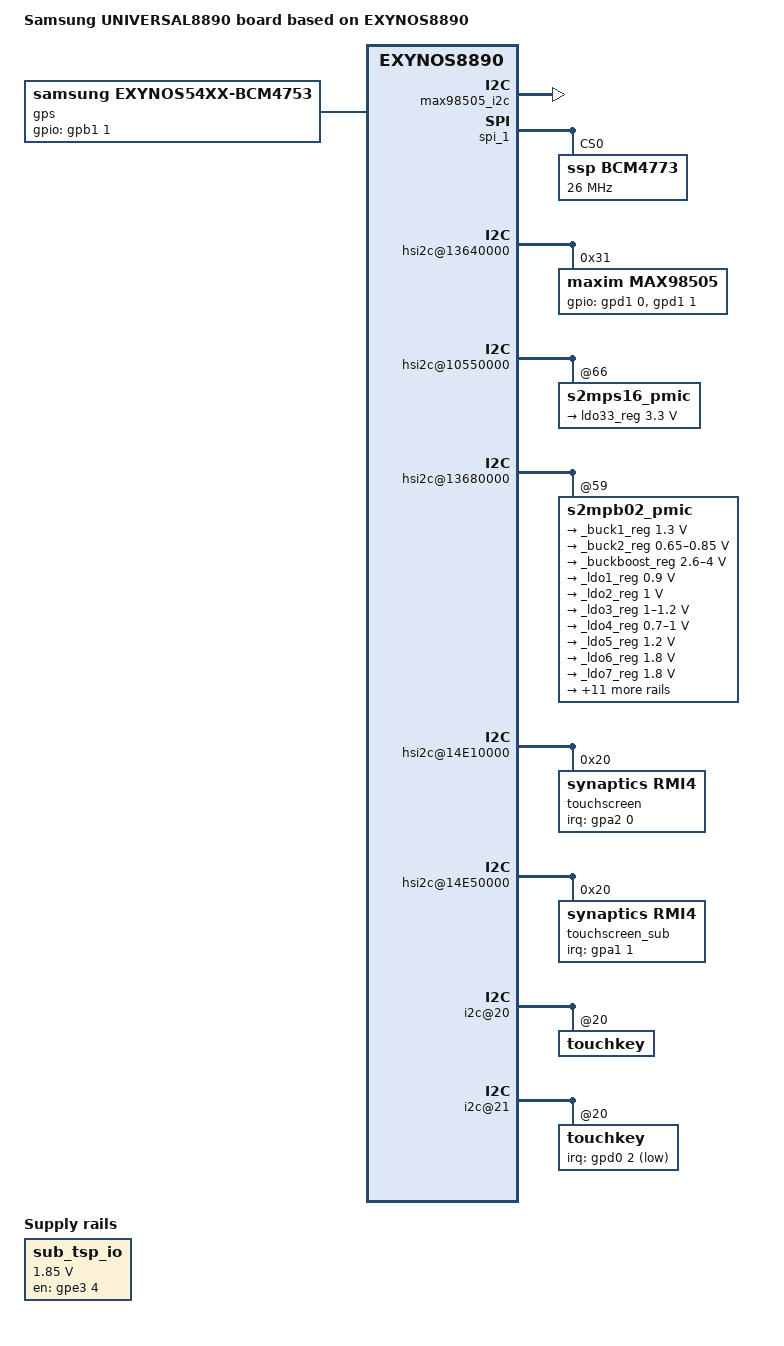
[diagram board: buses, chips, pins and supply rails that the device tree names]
/*
 * SAMSUNG UNIVERSAL8890 board device tree source
 *
 * Copyright (c) 2015 Samsung Electronics Co., Ltd.
 *		http://www.samsung.com
 *
 * This program is free software; you can redistribute it and/or modify
 * it under the terms of the GNU General Public License version 2 as
 * published by the Free Software Foundation.
*/
/dts-v1/;
#include "exynos8890-vlte_common.dtsi"
#include "exynos8890-vlte_gpio_01.dtsi"
#include "exynos8890-sound-cs47l91.dtsi"
#include "exynos8890-vlte_battery_eur_01.dtsi"
#include "exynos8890-vlte_display_01.dtsi"
#include "exynos8890-vlte_mst_01.dtsi"
#include "exynos8890-vlte_fingerprint-sensor_00.dtsi"
/ {

	model = "Samsung UNIVERSAL8890 board based on EXYNOS8890";
	model_info-chip = <8890>;
	model_info-platform = "android";
	model_info-subtype = "samsung";
	model_info-hw_rev = <1>;
	model_info-hw_rev_end = <1>;
	compatible = "samsung,exynos8890","samsung,UNIVERSAL8890";

	audio_pdata {
		compatible = "samsung,audio-pdata";
		seamless_voicewakeup;
		status = "okay";
	};

	pinctrl@10580000 {
		codec_irq: codec-irq {
			samsung,pins = "gpa2-6";
			samsung,pin-function = <0xf>;
			samsung,pin-pud = <0>;
		};
		max98505_ctrl: max98505-ctl {
			samsung,pins ="gpa2-2";
			samsung,pin-function = <0>;
			samsung,pin-pud = <0>;
			samsung,pin-con-pdn =<2>;
			samsung,pin-pud-pdn = <0>;
		};
		attn_irq: attn-irq {
			samsung,pins = "gpa2-0";
			samsung,pin-function = <0xf>;
			samsung,pin-pud = <0>;
			samsung,pin-drv = <0>;
		};
		attn_input: attn-input {
			samsung,pins = "gpa2-0";
			samsung,pin-function = <0>;
			samsung,pin-pud = <1>;
			samsung,pin-drv = <0>;
		};
	};

	hall {
		status = "disabled";
	};

	certify_hall { 
		status = "disabled";
	};

	pinctrl@136D0000 {
		max98505_i2c: max98505-i2c {
			samsung,pins = "gpd1-0", "gpd1-1";
			samsung,pin-pud = <0>;
			status = "okay";
		};
		/* touchkey i2c*/
		cfg_i2c: cfg-i2c {
			samsung,pins = "gpd0-0", "gpd0-1";
			samsung,pin-function = <2>;
			samsung,pin-pud = <3>;
			samsung,pin-drv = <0>;
		};
		cfg_gpio: cfg_gpio {
			samsung,pins = "gpd0-0", "gpd0-1";
			samsung,pin-function = <0>;
			samsung,pin-pud = <0>;
			samsung,pin-drv = <0>;
		};
		/* sub touchkey interrupt*/
		cfg_irq_sub: cfg-irq-sub {
			samsung,pins = "gpd0-2";
			samsung,pin-function = <0xf>;
			samsung,pin-pud = <3>;
			samsung,pin-drv = <0>;
		};
		cfg_input_sub: cfg-input-sub {
			samsung,pins = "gpd0-2";
			samsung,pin-function = <0>;
			samsung,pin-pud = <1>;
			samsung,pin-drv = <0>;
		};
	};

	pinctrl@14CC0000 {
		codec_reset: codec-reset {
			samsung,pins ="gpe6-5";
			samsung,pin-function = <1>;
			samsung,pin-pud = <1>;
			samsung,pin-con-pdn =<3>;
			samsung,pin-pud-pdn = <1>;
			samsung,pin-val = <0>;
		};
		/* sub touchkey i2c*/
		cfg_i2c_sub: cfg-i2c-sub {
			samsung,pins = "gpe1-2", "gpe1-3";
			samsung,pin-function = <2>;
			samsung,pin-pud = <3>;
			samsung,pin-drv = <0>;
		};
		cfg_gpio_sub: cfg_gpio_sub {
			samsung,pins = "gpe1-2", "gpe1-3";
			samsung,pin-function = <0>;
			samsung,pin-pud = <0>;
			samsung,pin-drv = <0>;
		};
	};

	spi_1: spi@14d30000 {
		#address-cells = <1>;
		#size-cells = <0>;

		pinctrl-names = "default";
		pinctrl-0 = <&spi1_mosi_sck_ssn &spi1_miso>;

		num-cs = <1>;
		status = "okay";

		BCM4773@0 {
			compatible = "ssp,BCM4773";
			reg = <0>;
			spi-max-frequency = <26000000>;
			spi-cpol;
			spi-cpha;
			pinctrl-names = "default";
			pinctrl-0 = <&ssp_host_req &ssp_mcu_req &ssp_mcu_resp &ssp_batch_wake_irq>;

			gpio-controller;
			#gpio-cells = <2>;
			ssp-host-req = <&gpa3 4 0x00>;
			ssp-mcu-req = <&gpe6 4 0x00>;
			ssp-mcu-resp = <&gpg0 2 0x00>;
			ssp-batch-wake-irq = <&gpa3 1 0x00>;
			ssp-acc-position = <0>;
			ssp-acc-sub-position = <5>;
			ssp-mag-position = <0>;
			ssp-sns-combination = <0>;
			ssp,prox-hi_thresh = <600>;
			ssp,prox-low_thresh = <400>;
			ssp,prox-cal_hi_thresh = <8192>;
			SSP,prox-cal_low_thresh = <5000>;
			ssp-ap-rev = <1>;
			ssp-mag-array = <9930 866 (-228) 263 9197 121 (-135) 387 10378>;
			ssp-glass-type = <1>;
			ssp-hall-threshold = /bits/ 16 <1 (-50) (-60) (-90) (-95)>;

			controller-data {
				cs-gpio = <&gpe2 5 0>;
				samsung,spi-feedback-delay = <0>;
				};
			};
	};

	gps {
		compatible = "samsung,exynos54xx-bcm4753";

		pinctrl-names = "default";
		pinctrl-0 = <&ssp_gps_pwr_en>;

		gpios = <&gpb1 1 0x0>;
		status = "okay";
	};

	hsi2c@13640000 {
		status = "okay";
		max98505@31 {
			compatible = "maxim,max98505";
			reg = <0x31>;
			pinctrl-names = "default";
			pinctrl-0 = <&max98505_i2c &max98505_ctrl>;
			gpios = <&gpd1 0 0
				&gpd1 1 0
				>;
			i2c-gpio,delay-us = <2>;
			maxim,platform_type = <0>;
			maxim,spk_vol = <0x14>;
			maxim,sysclk = <12288000>;
			maxim,vmon_slot = <0>;
			maxim,platform_info = <0 0x4000 0x0F010203 0x0FF10203 0x00000000 40>;
			maxim,boost_step = <
					0x0F 0x0F 0x0F 0x0F
					0x0F 0x0F 0x0F 0x0F
					0x0F 0x0F 0x0F 0x0F
					0x0F 0x0F 0x02 0x00
					>;
			maxim,adc_threshold = <7>;
		};
	};

	sound {
		mixer-paths = "mixer_paths_r01.xml";
	};

	/* Main PMIC */
	hsi2c@10550000{
		s2mps16_pmic@66 {
			regulators {
				ldo33_reg: LDO33 {
					regulator-name = "VDD_SUB_TOUCH_3.3V";
					regulator-min-microvolt = <3300000>;
					regulator-max-microvolt = <3300000>;
					regulator-boot-on;
				};
			};
		};
	};
	/* Sub PMIC */
	hsi2c@13680000 {
		s2mpb02_pmic@59 {
			regulators {
				_buck1_reg: s2mpb02-buck1 {
					regulator-name = "VDD_1P3_EXT";
					regulator-min-microvolt = <1300000>;
					regulator-max-microvolt = <1300000>;
					regulator-always-on;
					regulator-boot-on;
				};

				_buck2_reg: s2mpb02-buck2 {
					regulator-name = "VDDD_CORE_0.8V_COMP";
					regulator-min-microvolt = <650000>;
					regulator-max-microvolt = <850000>;
				};

				_buckboost_reg: s2mpb02-bb {
					regulator-min-microvolt = <2600000>;
					regulator-max-microvolt = <4000000>;
					regulator-always-on;
					regulator-boot-on;
				};

				_ldo1_reg: s2mpb02-ldo1 {
					regulator-name = "VDDD_NORET_0.9V_COMP";
					regulator-min-microvolt = <900000>;
					regulator-max-microvolt = <900000>;
				};

				_ldo2_reg: s2mpb02-ldo2 {
					regulator-name = "VDDD_CORE_1.0V_COMP";
					regulator-min-microvolt = <1000000>;
					regulator-max-microvolt = <1000000>;
				};

				_ldo3_reg: s2mpb02-ldo3 {
					regulator-name = "VDDD_1.2V_CAM";
					regulator-min-microvolt = <1000000>;
					regulator-max-microvolt = <1200000>;
				};

				_ldo4_reg: s2mpb02-ldo4 {
					regulator-name = "VDDD_RET_1.0V_COMP";
					regulator-min-microvolt = <700000>;
					regulator-max-microvolt = <1000000>;
				};

				_ldo5_reg: s2mpb02-ldo5 {
					regulator-name = "VDDD_1.2V_VT";
					regulator-min-microvolt = <1200000>;
					regulator-max-microvolt = <1200000>;
				};

				_ldo6_reg: s2mpb02-ldo6 {
					regulator-name = "VDDIO_1.8V_VT";
					regulator-min-microvolt = <1800000>;
					regulator-max-microvolt = <1800000>;
				};

				_ldo7_reg: s2mpb02-ldo7 {
					regulator-name = "VDDIO_1.8V_CAM";
					regulator-min-microvolt = <1800000>;
					regulator-max-microvolt = <1800000>;
				};

				_ldo8_reg: s2mpb02-ldo8 {
					regulator-name = "VDDIO_1.8V_COMP";
					regulator-min-microvolt = <1800000>;
					regulator-max-microvolt = <1800000>;
				};

				_ldo9_reg: s2mpb02-ldo9 {
					regulator-name = "VDDA_1.8V_COMP";
					regulator-min-microvolt = <1800000>;
					regulator-max-microvolt = <1800000>;
				};

				_ldo10_reg: s2mpb02-ldo10 {
					regulator-name = "VDD_SUB_LCD_1P8";
					regulator-min-microvolt = <1800000>;
					regulator-max-microvolt = <1800000>;
				};

				_ldo11_reg: s2mpb02-ldo11 {
					regulator-name = "VDDA_2.9V_CAM";
					regulator-min-microvolt = <1000000>;
					regulator-max-microvolt = <2950000>;
				};

				_ldo12_reg: s2mpb02-ldo12 {
					regulator-name = "VDDAF_2.8V_CAM";
					regulator-min-microvolt = <2800000>;
					regulator-max-microvolt = <2800000>;
				};

				_ldo13_reg: s2mpb02-ldo13 {
					regulator-name = "VDDA_2.9V_VT";
					regulator-min-microvolt = <2900000>;
					regulator-max-microvolt = <2900000>;
				};

				_ldo14_reg: s2mpb02-ldo14 {
					regulator-name = "OIS_VM_2.8V";
					regulator-min-microvolt = <2800000>;
					regulator-max-microvolt = <2800000>;
				};

				_ldo15_reg: s2mpb02-ldo15 {
					regulator-name = "OIS_VDD_2.8V";
					regulator-min-microvolt = <2800000>;
					regulator-max-microvolt = <2800000>;
				};

				_ldo16_reg: s2mpb02-ldo16 {
					regulator-name = "VDD_SUB_LCD_3P0";
					regulator-min-microvolt = <3000000>;
					regulator-max-microvolt = <3000000>;
				};

				_ldo17_reg: s2mpb02-ldo17 {
					regulator-name = "sub_tsp_avdd";
					regulator-min-microvolt = <3300000>;
					regulator-max-microvolt = <3300000>;
				};

				_ldo18_reg: s2mpb02-ldo18 {
					regulator-name = "VDD_HALL_3P3";
					regulator-min-microvolt = <3300000>;
					regulator-max-microvolt = <3300000>;
					regulator-always-on;
				};
			};

			torch {
				torch1-gpio = "gpc0-3";
				flash1-gpio = "gpc0-2";

				status = "okay";

				leds1 {
					ledname = "leds-sec1";
					/* S2MPB02_FLASH_LED_1 */
					id = <0>;
					/* S2MPB02_FLASH_CURRENT */
					brightness = <0xF>;
					/* S2MPB02_FLASH_TIMEOUT */
					timeout = <0x3>;
				};

				leds2 {
					ledname = "torch-sec1";
					/* S2MPB02_TORCH_LED_1 */
					id = <1>;
					/* S2MPB02_TORCH_CURRENT */
					brightness = <0x9>;
					/* S2MPB02_TORCH_TIMEOUT */
					timeout = <0xF>;
				};
			};
		};
	};

	dwmmc2@15740000 {
		status = "disabled";
	};

	sub_tsp_ldo_en {
		compatible = "regulator-fixed";
		regulator-name = "sub_tsp_io";
		regulator-min-microvolt = <1850000>;
		regulator-max-microvolt = <1850000>;
		gpio = <&gpe3 4 0>;
		enable-active-high;
	};

	/* HSIC7 */
	hsi2c@14E10000 {
		samsung,i2c-sda-delay = <100>;
		samsung,i2c-max-bus-freq = <400000>;
		status = "okay";
		touchscreen@49 {
			compatible = "stm,fts_touch";
			status = "disabled";
		};
		touchscreen@20 {
			compatible = "synaptics,rmi4";
			reg = <0x20>;
			pinctrl-names = "on_state", "off_state";
			pinctrl-0 = <&attn_irq>;
			pinctrl-1 = <&attn_input>;
			synaptics,irq_gpio = <&gpa2 0 0>;
			synaptics,irq_type = <8200>;
			synaptics,max_coords = <1100 1900>;	/* x y */
			synaptics,num_lines = <28 16>;		/* rx tx */
			synaptics,regulator_dvdd = "tsp_io";
			synaptics,regulator_avdd = "tsp_avdd";
			synaptics,firmware_name = "tsp_synaptics/synaptics_s5300_v_ab.fw"; /* main */
		};
	};

	/* HSIC14 */
	hsi2c@14E50000 {
		samsung,i2c-sda-delay = <100>;
		samsung,i2c-max-bus-freq = <400000>;
		status = "okay";
		touchscreen_sub@49 {
			compatible = "stm,fts_touch";
			status = "disabled";
		};
		touchscreen_sub@20 {
			compatible = "synaptics,rmi4";
			reg = <0x20>;
			pinctrl-names = "on_state", "off_state";
			pinctrl-0 = <&attn_irq_sub>;
			pinctrl-1 = <&attn_input_sub>;
			synaptics,irq_gpio = <&gpa1 1 0>;
			synaptics,irq_type = <8200>;
			synaptics,max_coords = <1100 1900>;
			synaptics,num_lines = <28 16>;
			synaptics,regulator_dvdd = "sub_tsp_io";
			synaptics,regulator_avdd = "sub_tsp_avdd";
			synaptics,device_num = <2>;
			synaptics,firmware_name = "tsp_synaptics/synaptics_s5300_v_ac.fw"; 
		};
	};

	i2c@20{
		touchkey@20 {
			abov,fw_path = "abov/abov_valley.fw";
		};
	};

	i2c@21{
		touchkey@20 {
			abov,irq-gpio = <&gpd0 2 1>;
		};
	};

	haptic {
		status = "okay";
		haptic,model = <2>;
		haptic,max_timeout = <10000>;
		haptic,duty = <37719>;
		haptic,period = <38100>;
		haptic,reg2 = <0x82>;
		haptic,pwm_id = <1>;
		haptic,regulator_name = "VDD_MOT_3.0V";

		ldo {
			status = "okay";
			compatible = "vib,ldo_en";
			pinctrl-names = "default";
			pinctrl-0 = <&vib_ldo_en>;
			ldo_en = <&gpe7 1 0>;
		};
	};
};
